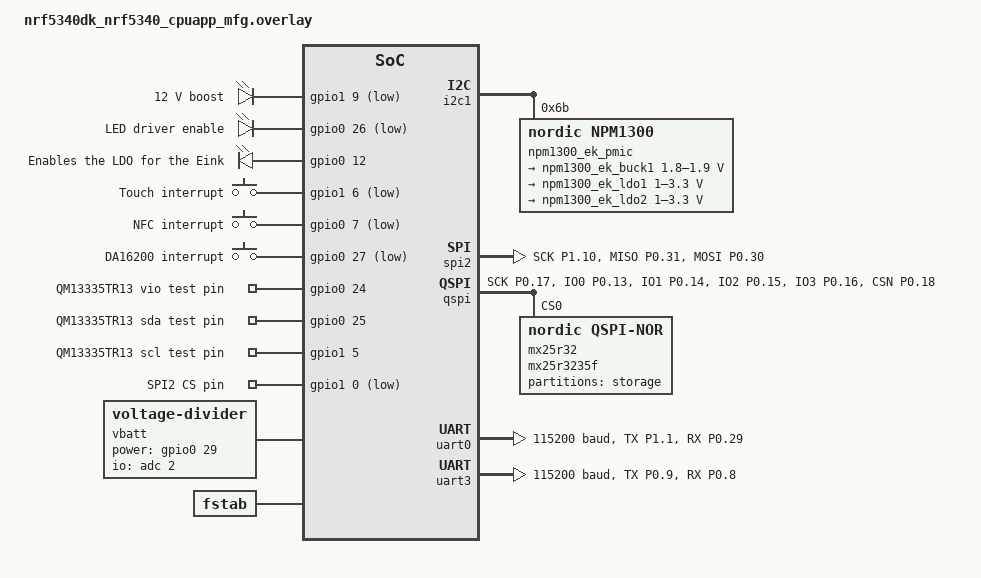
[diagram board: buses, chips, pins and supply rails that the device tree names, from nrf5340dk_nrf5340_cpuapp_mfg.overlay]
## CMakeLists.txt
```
# Copyright (c) 2023 Nordic Semiconductor ASA
# SPDX-License-Identifier: Apache-2.0

cmake_minimum_required(VERSION 3.20.0)

set(DTC_OVERLAY_FILE ./nrf5340dk_nrf5340_cpuapp_mfg.overlay)

get_filename_component(APPLICATION_PROJECT_DIR
    ${CMAKE_CURRENT_LIST_DIR}/..
    ABSOLUTE
)


list(APPEND BOARD_ROOT ${APPLICATION_PROJECT_DIR})
list(APPEND DTS_ROOT ${APPLICATION_PROJECT_DIR})
message(ADDING BOARD_ROOT="${BOARD_ROOT}")
message(ADDING DTS_ROOT="${DTS_ROOT}")



find_package(Zephyr REQUIRED HINTS $ENV{ZEPHYR_BASE})

project(wifi_aws VERSION 0.0.1)
zephyr_library_include_directories(src/include)
target_sources(app PRIVATE src/main.c src/board.c src/shell.c)
add_subdirectory(src/pmic)
add_subdirectory(src/rffe)
add_subdirectory(src/modem)
add_subdirectory(src/wifi)
add_subdirectory(src/watchdog)

add_definitions(-DAPP_VERSION_MAJOR=${PROJECT_VERSION_MAJOR})
add_definitions(-DAPP_VERSION_MINOR=${PROJECT_VERSION_MINOR})
add_definitions(-DAPP_VERSION_PATCH=${PROJECT_VERSION_PATCH})

# Get the current Git commit hash
execute_process(
  COMMAND git rev-parse --short=6 HEAD
  WORKING_DIRECTORY ${CMAKE_SOURCE_DIR}
  OUTPUT_VARIABLE GIT_HASH
  OUTPUT_STRIP_TRAILING_WHITESPACE
)

# Check if the repository is dirty
execute_process(
  COMMAND git status --porcelain
  WORKING_DIRECTORY ${CMAKE_SOURCE_DIR}
  OUTPUT_VARIABLE GIT_DIRTY_STATUS
  OUTPUT_STRIP_TRAILING_WHITESPACE
)

# Append '-dirty' to the version string if the repository is dirty
if(NOT GIT_DIRTY_STATUS STREQUAL "")
  set(GIT_HASH "${GIT_HASH}-dirty")
endif()

add_definitions(-DGIT_HASH_CMAKE=\"${GIT_HASH}\")

# Get the build machine name
execute_process(
  COMMAND hostname
  OUTPUT_VARIABLE BUILD_MACHINE
  OUTPUT_STRIP_TRAILING_WHITESPACE
)

# Get the build date
string(TIMESTAMP BUILD_DATE "%Y-%m-%d %H:%M:%S")

# Pass the variables to the code
add_definitions(-DBUILD_MACHINE_CMAKE=\"${BUILD_MACHINE}\")
add_definitions(-DBUILD_DATE_CMAKE=\"${BUILD_DATE}\")
```

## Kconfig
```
# Copyright (c) 2021 Nordic Semiconductor ASA
# SPDX-License-Identifier: Apache-2.0
#
# This file is the application Kconfig entry point. All application Kconfig
# options can be defined here or included via other application Kconfig files.
# You can browse these options using the west targets menuconfig (terminal) or
# guiconfig (GUI).

menu "Zephyr"
source "Kconfig.zephyr"
endmenu

module = bringup
module-str = bringup
source "subsys/logging/Kconfig.template.log_config"

config ENABLE_RFFE_TO_QM13335TR13
    bool "enable RFFE communication to QM13335TR13"
    default false
    help 
        Enable RFFE communication to QM13335TR13

config USE_UART_TO_NRF9160
    bool "use UART to nRF9160"
    default true
    help 
        Use UART to nRF9160DK

config USE_UART_TO_DA16200
    bool "use UART to DA16200"
    default true
    help 
        Use UART to DA16200

module = WIFI_UART
module-str = wifi_uart
source "subsys/logging/Kconfig.template.log_config"

module = WIFI_SPI
module-str = wifi_spi
source "subsys/logging/Kconfig.template.log_config"
```

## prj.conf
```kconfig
CONFIG_SENSOR=y
CONFIG_GPIO=y
CONFIG_LOG=y

CONFIG_SERIAL=y
CONFIG_UART_INTERRUPT_DRIVEN=y
CONFIG_UART_ASYNC_API=y
CONFIG_UART_NRFX=y
CONFIG_PRINTK=y

## SHELL
CONFIG_SHELL=y
CONFIG_LED_SHELL=y
CONFIG_REGULATOR_SHELL=y
CONFIG_FLASH_SHELL=y
CONFIG_GPIO_SHELL=y
CONFIG_SHELL_WILDCARD=n

## NPM1300
CONFIG_FLASH_SHELL=y
CONFIG_GPIO_SHELL=y


## NPM1300
CONFIG_LED=y
CONFIG_REGULATOR=y
CONFIG_REGULATOR_NPM1300=y
CONFIG_REGULATOR=y
CONFIG_REGULATOR_NPM1300=y
CONFIG_LED_NPM1300=y
CONFIG_GPIO_NPM1300=y
CONFIG_NPM1300_CHARGER=y

## FLASH
CONFIG_FLASH=y
CONFIG_SPI=y
CONFIG_NORDIC_QSPI_NOR=y 


## watchdog
CONFIG_WDT_LOG_LEVEL_DBG=y
CONFIG_WATCHDOG=y
CONFIG_WDT_DISABLE_AT_BOOT=y
CONFIG_WDT_NPM1300=y
CONFIG_COUNTER=y

CONFIG_USE_UART_TO_NRF9160=y

# If you change this, you need to change the "status" property in the
# devicetree of either spi2 or uart2 to "okay" in the board overlay file
CONFIG_USE_UART_TO_DA16200=n


## Bringup and Mfg test
## might require hardware mods, do not use unless you know what you are doing
#CONFIG_ENABLE_RFFE_TO_QM13335TR13=y
CONFIG_WIFI_SPI_LOG_LEVEL_DBG=y
CONFIG_WIFI_UART_LOG_LEVEL_DBG=y
```

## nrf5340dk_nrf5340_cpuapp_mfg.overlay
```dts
/*
 * Copyright (c) 2023 Culvert, Inc
 *
 * SPDX-License-Identifier: LicenseRef-BSD-5-Clause-Nordic
 */

 / {

    leds {
        compatible = "gpio-leds";
        uwbreset: uwb_reset_1 {
               gpios = <&gpio1 9 GPIO_ACTIVE_LOW>;
               label = "12 V boost";
        };
        ledenable: led_enable_1 {
               gpios = <&gpio0 26 GPIO_ACTIVE_LOW>;
               label = "LED driver enable";
        };
        p3v3einken: p3v3_eink_en1 {
               gpios = <&gpio0 12 GPIO_ACTIVE_HIGH>;
               label = "Enables the LDO for the Eink";
        };
    };

    buttons {
        compatible = "gpio-keys";
        touchinterrupt: touch_interrupt1 {
            gpios = <&gpio1 6 (GPIO_PULL_UP |GPIO_ACTIVE_LOW)>;
            label = "Touch interrupt";
        };

        nfcinterrupt: nfc_interrupt1 {
               gpios = <&gpio0 7 (GPIO_PULL_UP | GPIO_ACTIVE_LOW)>;
               label = "NFC interrupt";
        };

        dainterrupt: dialog_interrupt {
               gpios = <&gpio0 27 (GPIO_PULL_UP | GPIO_ACTIVE_LOW)>;
               label = "DA16200 interrupt";
        };

        antennavio:  antenna_vio {
            gpios = <&gpio0 24 (GPIO_ACTIVE_HIGH)>;
            label = "QM13335TR13 vio test pin";
        };

        antennasda:  antenna_sda {
            gpios = <&gpio0 25 (GPIO_ACTIVE_HIGH)>;
            label = "QM13335TR13 sda test pin";
        };

		antennascl:  antenna_scl {
			gpios = <&gpio1 5 (GPIO_ACTIVE_HIGH)>;
		    label = "QM13335TR13 scl test pin";
		};

		spi2cs:  spi2_cs {
			gpios = <&gpio1 0 (GPIO_ACTIVE_LOW)>;
			label = "SPI2 CS pin";
		};
	};

    vbatt {
          compatible = "voltage-divider";
          io-channels = <&adc 2>;
          output-ohms = <49900>;
          full-ohms = <(100000 + 49900)>;
          power-gpios = <&gpio0 29 GPIO_ACTIVE_HIGH>;
    };

	aliases {
		i2c1 = &i2c1;
		ledenable = &ledenable;
		touchinterrupt = &touchinterrupt;
		nfcinterrupt = &nfcinterrupt;
		p3v3einken = &p3v3einken;
		uwbreset = &uwbreset;
		dainterrupt = &dainterrupt;
		spi-flash0 = &mx25r32;
		modemuart = &uart1;
		spi2cs = &spi2cs;
	};
};

&pinctrl {

    uart0_default: uart0_default {
                group1 {
                    psels = <NRF_PSEL(UART_TX, 1, 1)>;
                };
                group2 {
                        psels = <NRF_PSEL(UART_RX, 0, 29)>;
                        bias-pull-up;
                };
                /delete-property/ hw-flow-control;
        };

    uart0_sleep: uart0_sleep {
            group1 {
                    psels = <NRF_PSEL(UART_TX, 1, 1)>,
                            <NRF_PSEL(UART_RX, 0, 29)>;
                    low-power-enable;
                    /delete-property/ hw-flow-control;
            };
    };

    uart_over_spi_to_9160_default: uart_over_spi_to_9160_default {
            group1 {
                    psels = <NRF_PSEL(UART_TX, 0, 9)>;
            };
            group2 {
                    psels = <NRF_PSEL(UART_RX, 0, 8)>;
                    bias-pull-up;
            };
            /delete-property/ hw-flow-control;
    };

	uart_over_spi_to_9160_sleep: uart_over_spi_to_9160_sleep {
			group1 {
					psels = <NRF_PSEL(UART_TX, 0, 9)>,
							<NRF_PSEL(UART_RX, 0, 8)>;
					low-power-enable;
					/delete-property/ hw-flow-control;
			};
	};

    uart_over_spi_to_wifi_default: uart_over_spi_to_wifi_default {
        group1 {
                psels = <NRF_PSEL(UART_TX, 0, 30)>;
        };
        group2 {
                psels = <NRF_PSEL(UART_RX, 0, 31)>;
                bias-pull-up;
        };
        /delete-property/ hw-flow-control;
    };

    uart_over_spi_to_wifi_sleep: uart_over_spi_to_wifi_sleep {
            group1 {
                    psels = <NRF_PSEL(UART_TX, 0, 30)>,
                            <NRF_PSEL(UART_RX, 0, 31)>;
                    low-power-enable;
                    /delete-property/ hw-flow-control;
            };
    };      

	i2c1_default: i2c1_default {
		group1 {
			psels = <NRF_PSEL(TWIM_SDA, 1, 3)>,
				<NRF_PSEL(TWIM_SCL, 1, 2)>;
		};
	};

    i2c1_sleep: i2c1_sleep {
        group1 {
            psels = <NRF_PSEL(TWIM_SDA, 1, 3)>,
                <NRF_PSEL(TWIM_SCL, 1, 2)>;
            low-power-enable;
        };
    };

	spi2_default: spi2_default {
		group1 {
			psels = <NRF_PSEL(SPIM_SCK, 1, 10)>,
				<NRF_PSEL(SPIM_MISO, 0, 31)>,
				<NRF_PSEL(SPIM_MOSI, 0, 30)>;
		};
	};

	spi2_sleep: spi2_sleep {
		group1 {
			psels = <NRF_PSEL(SPIM_SCK, 1, 10)>,
				<NRF_PSEL(SPIM_MISO, 0, 31)>,
				<NRF_PSEL(SPIM_MOSI, 0, 30)>;
			low-power-enable;
		};
	};

    spi4_default: spi4_default {
        group1 {
                psels = <NRF_PSEL(SPIM_SCK, 0, 22)>,
                        <NRF_PSEL(SPIM_MISO, 0, 19)>,
                        <NRF_PSEL(SPIM_MOSI, 0, 21)>;
        };
    };

    spi4_sleep: spi4_sleep {
        group1 {
                psels = <NRF_PSEL(SPIM_SCK, 0, 22)>,
                        <NRF_PSEL(SPIM_MISO, 0, 19)>,
                        <NRF_PSEL(SPIM_MOSI, 0, 21)>;
                low-power-enable;
        };
    };

    qspi_default: qspi_default {
        group1 {
            psels = <NRF_PSEL(QSPI_SCK, 0, 17)>,
                <NRF_PSEL(QSPI_IO0, 0, 13)>,
                <NRF_PSEL(QSPI_IO1, 0, 14)>,
                <NRF_PSEL(QSPI_IO2, 0, 15)>,
                <NRF_PSEL(QSPI_IO3, 0, 16)>,
                <NRF_PSEL(QSPI_CSN, 0, 18)>;
            nordic,drive-mode = <NRF_DRIVE_H0H1>;
        };
    };

    qspi_sleep: qspi_sleep {
        group1 {
            psels = <NRF_PSEL(QSPI_SCK, 0, 17)>,
                <NRF_PSEL(QSPI_IO0, 0, 13)>,
                <NRF_PSEL(QSPI_IO1, 0, 14)>,
                <NRF_PSEL(QSPI_IO2, 0, 15)>,
                <NRF_PSEL(QSPI_IO3, 0, 16)>;
            low-power-enable;
        };
        group2 {
            psels = <NRF_PSEL(QSPI_CSN, 0, 18)>;
            low-power-enable;
            bias-pull-up;
        };
    };
};

&i2c1 {
    npm1300_ek_pmic: pmic@6b {
        compatible = "nordic,npm1300";
        reg = <0x6b>;

        npm1300_ek_gpio: gpio-controller {
            compatible = "nordic,npm1300-gpio";
            gpio-controller;
            #gpio-cells = <2>;
            ngpios = <5>;
        };

        npm1300_ek_regulators: regulators {
            compatible = "nordic,npm1300-regulator";

            /* limits are set to min/max allowed values */
            npm1300_ek_buck1: BUCK1 {
                regulator-min-microvolt = <1800000>;
                regulator-max-microvolt = <1900000>;
                regulator-init-microvolt = <1900000>;
                /* set to 1.9V for boot, will be set to 1.8V by software.  Workaround for NPM1300 Errata #27 */
            };
/*
            npm1300_ek_buck2: BUCK2 {
                regulator-min-microvolt = <1000000>;
                regulator-max-microvolt = <3300000>;
                regulator-init-microvolt = <1800000>;
                retention-microvolt = <2500000>;
                enable-gpios = <&npm1300_ek_gpio 1 GPIO_ACTIVE_LOW>;
                retention-gpios = <&npm1300_ek_gpio 2 GPIO_ACTIVE_HIGH>;
                pwm-gpios = <&npm1300_ek_gpio 2 GPIO_ACTIVE_LOW>;
            };
*/
            npm1300_ek_ldo1: LDO1 {
                regulator-min-microvolt = <1000000>;
                regulator-max-microvolt = <3300000>;
                enable-gpios = <&npm1300_ek_gpio 2 GPIO_ACTIVE_LOW>;
            };

            npm1300_ek_ldo2: LDO2 {
                regulator-min-microvolt = <1000000>;
                regulator-max-microvolt = <3300000>;
                enable-gpios = <&npm1300_ek_gpio 2 GPIO_ACTIVE_LOW>;
            };
        };

        npm1300_ek_charger: charger {
            compatible = "nordic,npm1300-charger";
            term-microvolt = <4350000>;
            term-warm-microvolt = <4000000>;
            current-microamp = <385000>;
            dischg-limit-microamp = <1000000>;  // 270000 min
            vbus-limit-microamp = <500000>;
            thermistor-ohms = <10000>;
            thermistor-beta = <3435>;
            charging-enable;
        };

        npm1300_ek_leds: pmicleds {
            compatible = "nordic,npm1300-led";
            nordic,led0-mode = "charging";
            nordic,led1-mode = "charging";
            nordic,led2-mode = "host";
        };

        npm1300_wdt: watchdog {
            compatible = "nordic,npm1300-wdt";
            /* nordic_npm1300wdt */
        };
    };
};

&uicr {
    nfct-pins-as-gpios;
};

// One of these is needed communicating to the DA16200. 
// set status to okay to enable one based on CONFIG_USE_UART_TO_DA16200
// in the prj.conf
&spi2 {
	compatible = "nordic,nrf-spim";
    status = "okay";
	pinctrl-0 = <&spi2_default>;
	pinctrl-1 = <&spi2_sleep>;
	pinctrl-names = "default", "sleep";
	cs-gpios = <&gpio1 0 GPIO_ACTIVE_LOW>;
};
&uart2 {
    current-speed = <115200>;
    status = "disabled";
    pinctrl-0 = <&uart_over_spi_to_wifi_default>;
    pinctrl-1 = <&uart_over_spi_to_wifi_sleep>;
    pinctrl-names = "default", "sleep";
};


// &spi4 {
//  compatible = "nordic,nrf-spim";
//  status = "okay";
//  pinctrl-0 = <&spi4_default>;
//  pinctrl-1 = <&spi4_sleep>;
//  pinctrl-names = "default", "sleep";

//  label = "SPI_4";
//  cs-gpios = <&gpio0 20 GPIO_ACTIVE_LOW>;

//  lsm6dsv16x@0 {
//      compatible = "st,lsm6dsv16x";
//              status = "okay";
//              reg = <0>;
//              spi-max-frequency = <4000000>;
//              irq-gpios = <&gpio0 5 GPIO_ACTIVE_HIGH>;
//              drdy-pin = <1>;
//              label = "LSM6DSV16X";
//      };
// };

/delete-node/ &mx25r64;

&qspi {
    status = "okay";
    pinctrl-0 = <&qspi_default>;
    pinctrl-1 = <&qspi_sleep>;
    pinctrl-names = "default", "sleep";
    mx25r32: mx25r3235f@0 {
        compatible = "nordic,qspi-nor";
        reg = <0>;
        /* MX25R64 supports only pp and pp4io */
        writeoc = "pp4io";
        /* MX25R64 supports all readoc options */
        readoc = "read4io";
        sck-frequency = <8000000>;
        jedec-id = [c2 28 16];
        sfdp-bfp = [
            e5 20 f1 ff  ff ff ff 03  44 eb 08 6b  08 3b 04 bb
            ee ff ff ff  ff ff 00 ff  ff ff 00 ff  0c 20 0f 52
            10 d8 00 ff  23 72 f5 00  82 ed 04 cc  44 83 68 44
            30 b0 30 b0  f7 c4 d5 5c  00 be 29 ff  f0 d0 ff ff
        ];
        size = <33554432>;
        has-dpd;
        t-enter-dpd = <10000>;
        t-exit-dpd = <35000>;
    };
};

/delete-node/ &storage_partition;

/ {
        fstab {
                compatible = "zephyr,fstab";
                lfs1: lfs1 {
                        compatible = "zephyr,fstab,littlefs";
                        mount-point = "/lfs1";
                        partition = <&lfs1_part>;
                        automount;
                        read-size = <16>;
                        prog-size = <16>;
                        cache-size = <64>;
                        lookahead-size = <32>;
                        block-cycles = <512>;
                };
        };
};

&mx25r32 {
        partitions {
                compatible = "fixed-partitions";
                #address-cells = <1>;
                #size-cells = <1>;

                lfs1_part: partition@0 {
                        label = "storage";
                        reg = <0x00000000 0x100000>;
                };
        };
};


&uart0 {
    status = "okay";
    current-speed = <115200>;
    pinctrl-0 = <&uart0_default>;
    pinctrl-1 = <&uart0_sleep>;
    pinctrl-names = "default", "sleep";
};

&i2c2 {
    status = "disabled";
};

&uart3 {
	status = "okay";
	current-speed = <115200>;
	pinctrl-0 = <&uart_over_spi_to_9160_default>;
	pinctrl-1 = <&uart_over_spi_to_9160_sleep>;
	pinctrl-names = "default", "sleep";
};





/ {
    gpio_fwd: nrf-gpio-forwarder {
        compatible = "nordic,nrf-gpio-forwarder";
        status = "disabled";
        uart {
            gpios = <&gpio1 1 0>, <&gpio1 0 0>, <&gpio0 11 0>, <&gpio0 10 0>;
        };
    };
};
```

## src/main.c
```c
/**
	@file main.c
	@brief Project main startup code.
	Copyright (c) 2023 Culvert Engineering - All Rights Reserved
 */

#include <stdlib.h>
#include <zephyr/sys/printk.h>
#include <getopt.h>


#include "modem.h"
#include "wifi.h"
#include "watchdog.h"
#include <zephyr/logging/log.h>

#include "pmic.h"
#if (CONFIG_ENABLE_RFFE_TO_QM13335TR13)
#include "rffe.h"
#endif

LOG_MODULE_REGISTER(main, LOG_LEVEL_DBG);


#define SLEEP_TIME_MS 100


////////////////////////////////////////////////////////////////////////////////////
//
// Main
//
bool initDevices() 
{

	if (pmic_init())
	{
		printk("Error: PMIC initialization failed.\n");
		return false;
	}
	set_switch_state(PMIC_SWITCH_VSYS, true);
	set_switch_state(PMIC_SWITCH_WIFI, true);

#if (CONFIG_WATCHDOG)
	if (watchdog_init())
	{
		printk("Error: watchdog initialization failed.\n");
		return false;
	}
#endif

#if (CONFIG_ENABLE_RFFE_TO_QM13335TR13)
	if (RFFE_init())
	{
		printk("Error: RFFE initialization failed.\n");
		return false;
	}
#endif

	if (modem_init())
	{
		printk("Error: 9160 Modem initialization failed.\n");
		return false;
	}

	if (wifi_init())
	{
		printk("Error: Wifi initialization failed.\n");
		return false;
	}


	return true;
}


////////////////////////////////////////////////////////////////////////////////////
//
// Main
//
int main(void)
{

	if (!initDevices())
	{
		printk("Error: Device initialization failed.\n");
		return -1;
	}

	while (1)
	{

		k_msleep(SLEEP_TIME_MS);
	}
}
```

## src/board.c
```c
/*
 * Copyright (c) 2022 Kenzen Inc.
 *
 * SPDX-License-Identifier: Unlicensed
 */

#include <zephyr/kernel.h>
#include <zephyr/init.h>

static int board_d1_init(void)
{
	return 0;
}

SYS_INIT(board_d1_init, PRE_KERNEL_1,
		 CONFIG_KERNEL_INIT_PRIORITY_DEFAULT);
```

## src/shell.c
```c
#include <zephyr/logging/log_ctrl.h>
#include <zephyr/logging/log.h>
#include <zephyr/shell/shell.h>
#include <stdlib.h>
#include <stdio.h>
#include <zephyr/sys/reboot.h> // for shell reboot command

LOG_MODULE_REGISTER(shell, LOG_LEVEL_DBG);

static int version(const struct shell *sh, size_t argc, char **argv)
{
    shell_fprintf(sh, SHELL_NORMAL, "App version %d.%d.%d\r\n", APP_VERSION_MAJOR,
                  APP_VERSION_MINOR, APP_VERSION_PATCH);
    return 0;
}

static int system_reboot(const struct shell *sh, size_t argc, char **argv)
{
    shell_print(sh, "rebooting...\n");
    sys_reboot(SYS_REBOOT_COLD);
}

SHELL_CMD_REGISTER(version, NULL, "app version", version);
SHELL_CMD_REGISTER(reboot, NULL, "reboot system", system_reboot);
```
